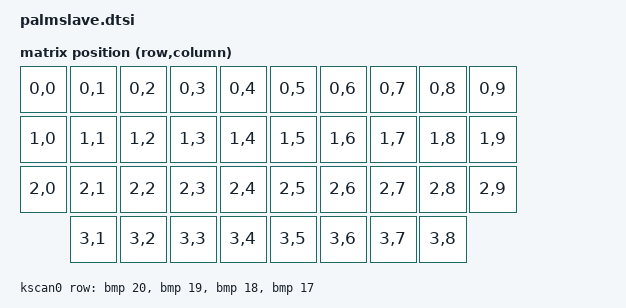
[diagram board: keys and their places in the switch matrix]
#include <dt-bindings/zmk/matrix_transform.h>
#include "palmslave_layouts.dtsi"

/ {
    chosen {
        zmk,physical-layout = &physical_layout0;
        zmk,battery = &non_lipo_battery; //追記
    };

    kscan0: kscan0 {
        compatible = "zmk,kscan-gpio-matrix";
        diode-direction = "col2row";
        wakeup-source;

        row-gpios
            = <&bmp 20 (GPIO_ACTIVE_HIGH | GPIO_PULL_DOWN)>,
            <&bmp 19 (GPIO_ACTIVE_HIGH | GPIO_PULL_DOWN)>,
            <&bmp 18 (GPIO_ACTIVE_HIGH | GPIO_PULL_DOWN)>,
            <&bmp 17 (GPIO_ACTIVE_HIGH | GPIO_PULL_DOWN)>
            ;
    };

    default_transform: keymap_transform0 {
        compatible = "zmk,matrix-transform";
        columns = <10>;
        rows = <4>;
        map = <
            RC(0,0) RC(0,1) RC(0,2) RC(0,3) RC(0,4)     RC(0,5) RC(0,6) RC(0,7) RC(0,8) RC(0,9)
            RC(1,0) RC(1,1) RC(1,2) RC(1,3) RC(1,4)     RC(1,5) RC(1,6) RC(1,7) RC(1,8) RC(1,9)
            RC(2,0) RC(2,1) RC(2,2) RC(2,3) RC(2,4)     RC(2,5) RC(2,6) RC(2,7) RC(2,8) RC(2,9)
                    RC(3,1) RC(3,2) RC(3,3) RC(3,4)     RC(3,5) RC(3,6) RC(3,7) RC(3,8)
        >;
    };

    physical_layout0: physical_layout_0 {
        compatible = "zmk,physical-layout";
        display-name = "LAYOUT";

        kscan = <&kscan0>;
        transform = <&default_transform>;
    };

// 追記
    vbatt: vbatt {
        // Disable default battery monitoring0
        // torabo-tsuki-lp参照
        status = "disabled";
    };

    non_lipo_battery: non_lipo_battery {
        compatible = "zmk,non-lipo-battery";
        io-channels = <&adc 4>;  // 使用するADCチャンネル　A0ピン (P0.28, AIN4)
        // status = "okay"; // ChatGPT助言で追記

        // オプション: 電圧分圧器の電源制御GPIO
        // power-gpios = <&gpio0 3 GPIO_ACTIVE_HIGH>;  // 使用するGPIOに置き換えてください
    };

// 追記ここまで

};

// 以下追記
&adc {
    status = "okay";
};


